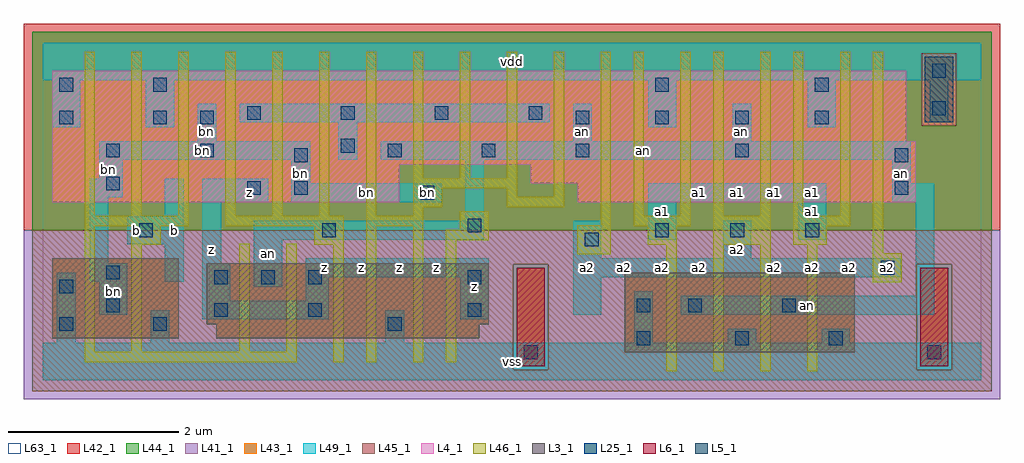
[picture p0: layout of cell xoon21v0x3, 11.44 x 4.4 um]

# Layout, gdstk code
import gdstk
lib = gdstk.Library(unit=1e-6, precision=1e-09)
def R(c, l, rs):  # rectangles x0, y0, x1, y1
    for r in rs: c.add(gdstk.rectangle(r[:2], r[2:], *l))
def A(c, l, x, y, w, h, nx, ny, dx, dy):  # array of equal rectangles
    R(c, l, [(x+i*dx, y+j*dy, x+i*dx+w, y+j*dy+h) for i in range(nx) for j in range(ny)])
L3_1 = (3, 1)
L4_1 = (4, 1)
L5_1 = (5, 1)
L6_1 = (6, 1)
L25_1 = (25, 1)
L41_1 = (41, 1)
L42_1 = (42, 1)
L43_1 = (43, 1)
L44_1 = (44, 1)
L45_1 = (45, 1)
L46_1 = (46, 1)
L49_1 = (49, 1)
L63_1 = (63, 1)

xoon21v0x3 = lib.new_cell('xoon21v0x3')
R(xoon21v0x3, L3_1, [(6.82,0.33,9.515,1.265), (0.11,0.495,1.595,1.43), (2.035,0.495,5.115,0.66), (1.925,0.66,5.225,1.375)])
R(xoon21v0x3, L4_1, [(0.11,2.09,4.18,2.53), (6.27,2.09,10.23,2.31), (5.72,2.31,10.23,2.53), (0.11,2.53,10.23,2.805), (0.11,2.805,10.12,3.63)])
R(xoon21v0x3, L5_1, [(10.34,3.025,10.67,3.795)])
R(xoon21v0x3, L6_1, [(5.555,0.165,5.885,1.32), (10.285,0.165,10.615,1.32)])
A(xoon21v0x3, L25_1, 2.01, 1.13, 0.16, 0.16, 3, 1, 0.55, 0)
A(xoon21v0x3, L25_1, 7.18, 1.68, 0.16, 0.16, 3, 1, 0.88, 0)
A(xoon21v0x3, L25_1, 4.045, 2.615, 0.16, 0.16, 3, 1, 1.1, 0)
A(xoon21v0x3, L25_1, 6.245, 3, 0.16, 0.16, 4, 1, 0.935, 0)
A(xoon21v0x3, L25_1, 2.395, 3.055, 0.16, 0.16, 4, 1, 1.1, 0)
R(xoon21v0x3, L25_1, [(5.64,0.25,5.8,0.41), (10.37,0.25,10.53,0.41), (6.96,0.415,7.12,0.575), (8.115,0.415,8.275,0.575), (9.215,0.415,9.375,0.575), (0.195,0.58,0.355,0.74), (1.295,0.58,1.455,0.74), (4.045,0.58,4.205,0.74), (2.01,0.745,2.17,0.905), (3.11,0.745,3.27,0.905), (4.98,0.745,5.14,0.905), (0.745,0.8,0.905,0.96), (6.96,0.8,7.12,0.96), (7.565,0.8,7.725,0.96), (8.665,0.8,8.825,0.96), (0.195,1.02,0.355,1.18), (4.98,1.13,5.14,1.29), (0.745,1.185,0.905,1.345), (9.82,1.24,9.98,1.4), (6.355,1.57,6.515,1.73), (1.13,1.68,1.29,1.84), (3.275,1.68,3.435,1.84), (4.98,1.735,5.14,1.895), (4.43,2.12,4.59,2.28), (2.395,2.175,2.555,2.335), (2.945,2.175,3.105,2.335), (9.985,2.175,10.145,2.335), (0.745,2.23,0.905,2.39), (2.945,2.56,3.105,2.72), (9.985,2.56,10.145,2.72), (0.745,2.615,0.905,2.775), (1.845,2.615,2.005,2.775), (8.115,2.615,8.275,2.775), (3.495,2.67,3.655,2.83), (0.195,3,0.355,3.16), (1.295,3,1.455,3.16), (1.845,3,2.005,3.16), (10.425,3.11,10.585,3.27), (0.195,3.385,0.355,3.545), (1.295,3.385,1.455,3.545), (7.18,3.385,7.34,3.545), (9.05,3.385,9.21,3.545), (10.425,3.55,10.585,3.71)])
R(xoon21v0x3, L41_1, [(-0.22,-0.22,11.22,1.76)])
R(xoon21v0x3, L42_1, [(-0.22,1.76,11.22,4.18)])
R(xoon21v0x3, L43_1, [(5.555,0.165,5.885,1.32), (10.285,0.165,10.615,1.32), (6.82,0.33,9.515,1.265), (0.11,0.495,1.595,1.43), (2.035,0.495,5.115,0.66), (1.925,0.66,5.225,1.375), (0.11,2.09,4.18,2.53), (6.27,2.09,10.23,2.31), (5.72,2.31,10.23,2.53), (0.11,2.53,10.23,2.805), (0.11,2.805,10.12,3.63), (10.34,3.025,10.67,3.795)])
R(xoon21v0x3, L44_1, [(5.515,0.125,5.925,1.36), (10.245,0.125,10.655,1.36), (-0.125,1.76,11.125,2.985), (-0.125,2.985,10.3,3.835), (10.71,2.985,11.125,3.835), (-0.125,3.835,11.125,4.085)])
R(xoon21v0x3, L45_1, [(-0.125,-0.125,11.125,0.125), (-0.125,0.125,5.515,1.36), (5.925,0.125,10.245,1.36), (10.655,0.125,11.125,1.36), (-0.125,1.36,11.125,1.76), (10.3,2.985,10.71,3.835)])
A(xoon21v0x3, L46_1, 7.31, 0.105, 0.12, 1.485, 4, 1, 0.55, 0)
A(xoon21v0x3, L46_1, 0.49, 1.93, 0.12, 1.925, 7, 1, 0.55, 0)
A(xoon21v0x3, L46_1, 4.34, 2.37, 0.12, 1.485, 3, 1, 0.55, 0)
R(xoon21v0x3, L46_1, [(0.49,0.215,2.975,0.335), (3.405,0.215,3.525,1.59), (3.79,0.215,3.91,1.81), (4.34,0.215,4.46,1.81), (4.725,0.215,4.845,1.645), (0.49,0.335,0.61,1.81), (1.04,0.335,1.16,1.59), (2.305,0.335,2.425,1.6), (2.855,0.335,2.975,1.6), (9.73,1.15,10.07,1.49), (6.265,1.48,6.66,1.82), (9.73,1.49,9.85,3.855), (1.04,1.59,1.38,1.81), (3.185,1.59,3.525,1.81), (7.09,1.59,7.43,1.81), (7.86,1.59,8.53,1.93), (8.795,1.59,9.19,1.81), (4.725,1.645,5.23,1.765), (4.89,1.765,5.23,1.985), (0.49,1.81,1.71,1.93), (2.14,1.81,3.525,1.93), (3.79,1.81,4.46,1.93), (6.925,1.81,7.595,1.93), (8.795,1.81,9.465,1.93), (6.54,1.82,6.66,3.855), (4.34,1.93,4.46,2.03), (6.925,1.93,7.045,3.855), (7.475,1.93,7.595,3.855), (7.86,1.93,7.98,3.855), (8.41,1.93,8.53,3.855), (8.795,1.93,8.915,3.855), (9.345,1.93,9.465,3.855), (4.34,2.03,4.68,2.25), (5.44,2.03,6.11,2.15), (5.44,2.15,5.56,2.25), (5.99,2.15,6.11,3.855), (4.34,2.25,5.56,2.37)])
R(xoon21v0x3, L49_1, [(0,0,11,0.44), (0.165,0.44,0.385,1.265), (1.265,0.44,1.485,0.825), (4.015,0.44,4.235,0.825), (6.93,0.44,7.15,1.045), (8.03,0.44,8.36,0.605), (9.13,0.44,9.46,0.605), (1.87,0.715,3.355,0.935), (4.895,0.715,5.225,1.21), (0.66,0.77,0.99,1.155), (6.215,0.77,6.545,1.21), (7.48,0.77,10.45,0.99), (1.87,0.935,2.2,1.375), (3.08,0.935,3.355,1.21), (10.23,0.99,10.45,2.09), (2.475,1.1,2.805,1.65), (0.55,1.155,0.99,1.375), (1.43,1.155,1.65,1.595), (3.08,1.21,5.225,1.43), (6.215,1.21,10.065,1.43), (0.55,1.375,0.77,2.145), (1.87,1.375,2.09,2.09), (6.215,1.43,6.545,1.87), (7.975,1.43,8.305,1.87), (0.99,1.595,1.65,1.925), (2.475,1.65,5.17,1.87), (7.095,1.65,7.425,2.09), (8.855,1.65,9.185,2.09), (4.95,1.87,5.17,2.585), (1.43,1.925,1.65,2.365), (1.87,2.09,2.64,2.365), (2.915,2.09,4.675,2.31), (7.095,2.09,9.185,2.31), (9.955,2.09,10.45,2.31), (0.55,2.145,0.935,2.365), (2.915,2.31,3.135,2.585), (9.955,2.31,10.175,2.585), (0.66,2.365,0.935,2.585), (0.66,2.585,3.135,2.805), (3.465,2.585,3.685,3.025), (3.96,2.585,10.175,2.805), (1.815,2.805,2.035,3.245), (6.215,2.805,6.435,3.245), (8.085,2.805,8.305,3.245), (0.11,2.97,0.44,3.52), (1.21,2.97,1.54,3.52), (7.095,2.97,7.425,3.52), (8.965,2.97,9.295,3.52), (2.31,3.025,5.94,3.245), (10.395,3.025,10.615,3.52), (0,3.52,11,3.96)])
R(xoon21v0x3, L63_1, [(0,0,11,3.96)])
xoon21v0x3.add(gdstk.Label('bn', (4.51,2.2), layer=49, texttype=1))
xoon21v0x3.add(gdstk.Label('bn', (0.825,1.045), layer=49, texttype=1))
xoon21v0x3.add(gdstk.Label('b', (1.1,1.76), layer=49, texttype=1))
xoon21v0x3.add(gdstk.Label('b', (1.54,1.76), layer=49, texttype=1))
xoon21v0x3.add(gdstk.Label('bn', (0.77,2.475), layer=49, texttype=1))
xoon21v0x3.add(gdstk.Label('bn', (1.925,2.915), layer=49, texttype=1))
xoon21v0x3.add(gdstk.Label('z', (3.3,1.32), layer=49, texttype=1))
xoon21v0x3.add(gdstk.Label('z', (3.74,1.32), layer=49, texttype=1))
xoon21v0x3.add(gdstk.Label('z', (4.18,1.32), layer=49, texttype=1))
xoon21v0x3.add(gdstk.Label('an', (2.64,1.485), layer=49, texttype=1))
xoon21v0x3.add(gdstk.Label('z', (1.98,1.54), layer=49, texttype=1))
xoon21v0x3.add(gdstk.Label('z', (2.42,2.2), layer=49, texttype=1))
xoon21v0x3.add(gdstk.Label('bn', (3.025,2.42), layer=49, texttype=1))
xoon21v0x3.add(gdstk.Label('bn', (1.87,2.695), layer=49, texttype=1))
xoon21v0x3.add(gdstk.Label('vss', (5.5,0.22), layer=49, texttype=1))
xoon21v0x3.add(gdstk.Label('a2', (6.38,1.32), layer=49, texttype=1))
xoon21v0x3.add(gdstk.Label('z', (4.62,1.32), layer=49, texttype=1))
xoon21v0x3.add(gdstk.Label('z', (5.06,1.1), layer=49, texttype=1))
xoon21v0x3.add(gdstk.Label('bn', (3.795,2.2), layer=49, texttype=1))
xoon21v0x3.add(gdstk.Label('an', (6.325,2.915), layer=49, texttype=1))
xoon21v0x3.add(gdstk.Label('vdd', (5.5,3.74), layer=49, texttype=1))
xoon21v0x3.add(gdstk.Label('a2', (6.82,1.32), layer=49, texttype=1))
xoon21v0x3.add(gdstk.Label('a2', (7.26,1.32), layer=49, texttype=1))
xoon21v0x3.add(gdstk.Label('a2', (7.7,1.32), layer=49, texttype=1))
xoon21v0x3.add(gdstk.Label('a2', (8.58,1.32), layer=49, texttype=1))
xoon21v0x3.add(gdstk.Label('a2', (8.14,1.54), layer=49, texttype=1))
xoon21v0x3.add(gdstk.Label('a1', (7.7,2.2), layer=49, texttype=1))
xoon21v0x3.add(gdstk.Label('a1', (8.14,2.2), layer=49, texttype=1))
xoon21v0x3.add(gdstk.Label('a1', (8.58,2.2), layer=49, texttype=1))
xoon21v0x3.add(gdstk.Label('a1', (7.26,1.98), layer=49, texttype=1))
xoon21v0x3.add(gdstk.Label('an', (8.195,2.915), layer=49, texttype=1))
xoon21v0x3.add(gdstk.Label('an', (8.965,0.88), layer=49, texttype=1))
xoon21v0x3.add(gdstk.Label('a2', (9.02,1.32), layer=49, texttype=1))
xoon21v0x3.add(gdstk.Label('a2', (9.46,1.32), layer=49, texttype=1))
xoon21v0x3.add(gdstk.Label('a2', (9.9,1.32), layer=49, texttype=1))
xoon21v0x3.add(gdstk.Label('a1', (9.02,1.98), layer=49, texttype=1))
xoon21v0x3.add(gdstk.Label('a1', (9.02,2.2), layer=49, texttype=1))
xoon21v0x3.add(gdstk.Label('an', (10.065,2.42), layer=49, texttype=1))
xoon21v0x3.add(gdstk.Label('an', (7.04,2.695), layer=49, texttype=1))

lib.write_gds('xoon21v0x3.gds')
